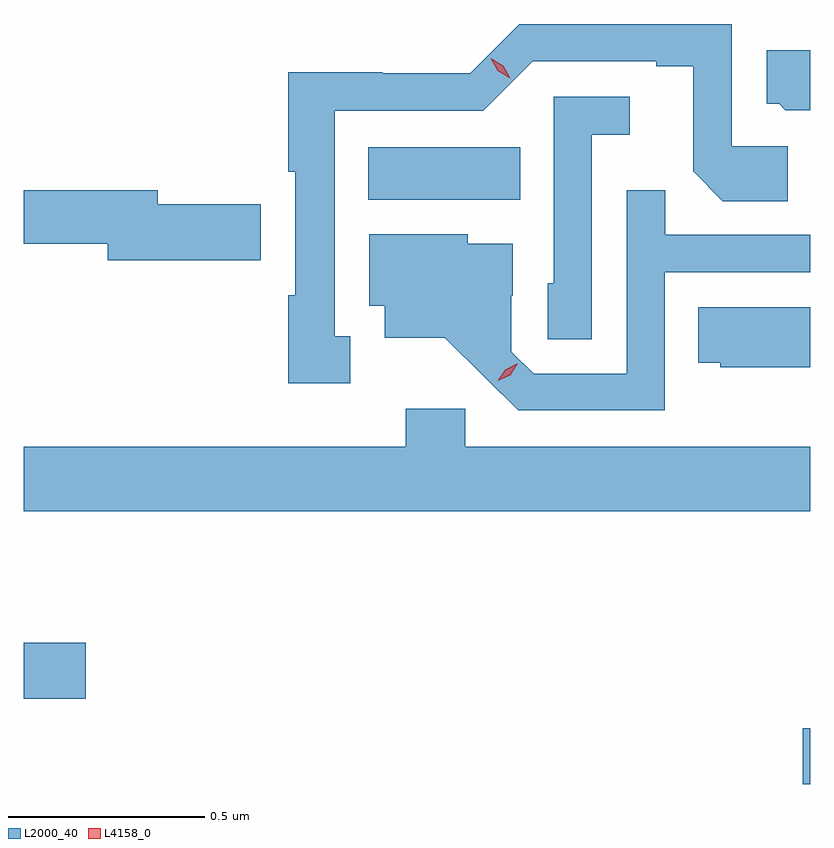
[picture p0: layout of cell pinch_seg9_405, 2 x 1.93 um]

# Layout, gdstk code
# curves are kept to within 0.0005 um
import gdstk
lib = gdstk.Library(unit=1e-6, precision=1e-09)
def R(c, l, rs):  # rectangles x0, y0, x1, y1
    for r in rs: c.add(gdstk.rectangle(r[:2], r[2:], *l))
def P(c, l, *ps):  # polygons
    for p in ps: c.add(gdstk.Polygon(p, *l))
L2000_40 = (2000, 40)
L4158_0 = (4158, 0)

pinch_seg9_405 = lib.new_cell('pinch_seg9_405')
R(pinch_seg9_405, L2000_40, [(339.162,1246.342,339.181,1246.484), (337.181,1246.559,337.339,1246.701), (338.057,1247.828,338.444,1247.962)])
P(pinch_seg9_405, L2000_40, [(338.011,1247.481),(337.972,1247.481),(337.972,1248.054),(338.349,1248.054),(338.475,1248.18),(338.789,1248.18),(338.789,1248.168),(338.883,1248.168),(338.883,1247.9),(338.959,1247.824),(339.124,1247.824),(339.124,1247.964),(338.982,1247.964),(338.982,1248.275),(338.441,1248.275),(338.316,1248.15),(338.094,1248.15),(338.094,1248.152),(337.854,1248.152),(337.854,1247.899),(337.871,1247.899),(337.871,1247.585),(337.854,1247.585),(337.854,1247.361),(338.011,1247.361)],
  [(339.181,1248.208),(339.071,1248.208),(339.071,1248.072),(339.102,1248.072),(339.118,1248.056),(339.181,1248.056)],
  [(338.625,1247.993),(338.722,1247.993),(338.722,1248.09),(338.529,1248.09),(338.529,1247.616),(338.514,1247.616),(338.514,1247.473),(338.625,1247.473)],
  [(338.811,1247.643),(339.181,1247.643),(339.181,1247.739),(338.813,1247.739),(338.813,1247.852),(338.715,1247.852),(338.715,1247.385),(338.478,1247.385),(338.421,1247.442),(338.421,1247.584),(338.425,1247.584),(338.425,1247.716),(338.31,1247.716),(338.31,1247.74),(338.06,1247.74),(338.06,1247.558),(338.099,1247.558),(338.099,1247.477),(338.251,1247.477),(338.438,1247.292),(338.811,1247.292)],
  [(337.783,1247.816),(337.522,1247.816),(337.522,1247.852),(337.181,1247.852),(337.181,1247.716),(337.394,1247.716),(337.394,1247.674),(337.783,1247.674)],
  [(339.181,1247.554),(338.896,1247.554),(338.896,1247.414),(338.952,1247.414),(338.952,1247.402),(339.181,1247.402)],
  [(339.181,1247.2),(338.304,1247.2),(338.304,1247.296),(338.153,1247.296),(338.153,1247.2),(337.181,1247.2),(337.181,1247.036),(339.181,1247.036)])
P(pinch_seg9_405, L4158_0, [(338.387,1247.367),(338.387,1247.367),(338.405,1247.396),(338.435,1247.411),(338.436,1247.411),(338.436,1247.41),(338.418,1247.381),(338.387,1247.367)],
  [(338.418,1248.137),(338.386,1248.156),(338.369,1248.188),(338.369,1248.188),(338.369,1248.188),(338.401,1248.169),(338.418,1248.137),(338.418,1248.137)])

lib.write_gds('pinch_seg9_405.gds')
